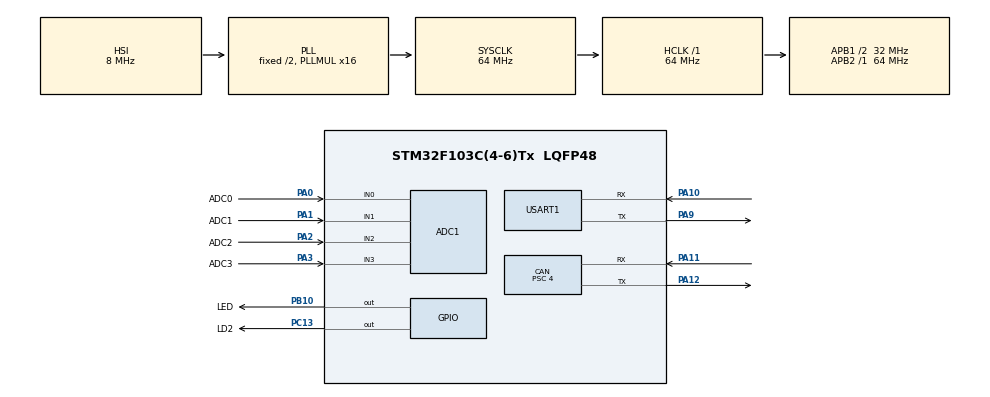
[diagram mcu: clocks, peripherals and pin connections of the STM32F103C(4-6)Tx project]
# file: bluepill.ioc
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ADC1.Channel-1\#ChannelRegularConversion=ADC_CHANNEL_1
ADC1.ContinuousConvMode=ENABLE
ADC1.NbrOfConversion=1
ADC1.NbrOfConversionFlag=1
ADC1.Rank-1\#ChannelRegularConversion=1
ADC1.SamplingTime-1\#ChannelRegularConversion=ADC_SAMPLETIME_239CYCLES_5
ADC1.master=1
CAN.BS1=CAN_BS1_13TQ
CAN.BS2=CAN_BS2_2TQ
CAN.CalculateBaudRate=500000
CAN.CalculateTimeBit=2000
CAN.CalculateTimeQuantum=125.0
CAN.Prescaler=4
Dma.ADC1.1.Direction=DMA_PERIPH_TO_MEMORY
Dma.ADC1.1.Instance=DMA1_Channel1
Dma.ADC1.1.MemDataAlignment=DMA_MDATAALIGN_HALFWORD
Dma.ADC1.1.MemInc=DMA_MINC_ENABLE
Dma.ADC1.1.Mode=DMA_CIRCULAR
Dma.ADC1.1.PeriphDataAlignment=DMA_PDATAALIGN_HALFWORD
Dma.ADC1.1.PeriphInc=DMA_PINC_DISABLE
Dma.ADC1.1.Priority=DMA_PRIORITY_LOW
Dma.Request0=USART1_RX
Dma.Request1=ADC1
Dma.USART1_RX.0.Direction=DMA_PERIPH_TO_MEMORY
Dma.USART1_RX.0.Instance=DMA1_Channel5
Dma.USART1_RX.0.MemDataAlignment=DMA_MDATAALIGN_BYTE
Dma.USART1_RX.0.MemInc=DMA_MINC_ENABLE
Dma.USART1_RX.0.Mode=DMA_CIRCULAR
Dma.USART1_RX.0.PeriphDataAlignment=DMA_PDATAALIGN_BYTE
Dma.USART1_RX.0.PeriphInc=DMA_PINC_DISABLE
Dma.USART1_RX.0.Priority=DMA_PRIORITY_LOW
Mcu.Family=STM32F1
Mcu.Name=STM32F103C(4-6)Tx
Mcu.Package=LQFP48
NVIC.DMA1_Channel1_IRQn=true\:0\:0\:false\:false\:true\:false\:true\:true
NVIC.DMA1_Channel5_IRQn=true\:0\:0\:false\:false\:true\:false\:true\:true
NVIC.PriorityGroup=NVIC_PRIORITYGROUP_4
NVIC.TIM2_IRQn=true\:0\:0\:false\:false\:true\:true\:true\:true
NVIC.USART1_IRQn=true\:0\:0\:false\:false\:true\:true\:true\:true
NVIC.USB_LP_CAN1_RX0_IRQn=true\:0\:0\:false\:false\:true\:true\:true\:true
PA0-WKUP.GPIO_Label=ADC0
PA0-WKUP.Signal=ADCx_IN0
PA1.GPIO_Label=ADC1
PA1.Signal=ADCx_IN1
PA10.Mode=Asynchronous
PA10.Signal=USART1_RX
PA11.Mode=CAN_Activate
PA11.Signal=CAN_RX
PA12.Mode=CAN_Activate
PA12.Signal=CAN_TX
PA2.GPIO_Label=ADC2
PA2.Signal=ADCx_IN2
PA3.GPIO_Label=ADC3
PA3.Signal=ADCx_IN3
PA9.Mode=Asynchronous
PA9.Signal=USART1_TX
PB10.GPIO_Label=LED
PB10.Signal=GPIO_Output
PC13-TAMPER-RTC.GPIO_Label=LD2
PC13-TAMPER-RTC.Signal=GPIO_Output
ProjectManager.HeapSize=0x200
ProjectManager.StackSize=0x400
ProjectManager.TargetToolchain=STM32CubeIDE
RCC.ADCPresc=RCC_ADCPCLK2_DIV6
RCC.AHBFreq_Value=64000000
RCC.APB1CLKDivider=RCC_HCLK_DIV2
RCC.APB1Freq_Value=32000000
RCC.APB1TimFreq_Value=64000000
RCC.APB2Freq_Value=64000000
RCC.APB2TimFreq_Value=64000000
RCC.HCLKFreq_Value=64000000
RCC.PLLMUL=RCC_PLL_MUL16
RCC.SYSCLKFreq_VALUE=64000000
RCC.SYSCLKSource=RCC_SYSCLKSOURCE_PLLCLK
RCC.USBFreq_Value=64000000
SH.ADCx_IN0.0=ADC1_IN0,IN0
SH.ADCx_IN1.0=ADC1_IN1,IN1
SH.ADCx_IN2.0=ADC1_IN2,IN2
SH.ADCx_IN3.0=ADC1_IN3,IN3
TIM2.Period=1000
TIM2.Prescaler=64-1
USART1.VirtualMode=VM_ASYNC
VP_TIM2_VS_ClockSourceINT.Mode=Internal
board=custom

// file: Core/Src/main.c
/* USER CODE BEGIN Header */
/**
  ******************************************************************************
  * @file           : main.c
  * @brief          : Main program body
  ******************************************************************************
  * @attention
  *
  * Copyright (c) 2023 STMicroelectronics.
  * All rights reserved.
  *
  * This software is licensed under terms that can be found in the LICENSE file
  * in the root directory of this software component.
  * If no LICENSE file comes with this software, it is provided AS-IS.
  *
  ******************************************************************************
  */
/* USER CODE END Header */
#include "main.h"
#include "adc.h"
#include "can.h"
#include "dma.h"
#include "tim.h"
#include "usart.h"
#include "gpio.h"

/* USER CODE BEGIN Includes */
#include "stdio.h"
#include "string.h"
#include "math.h"

/* USER CODE END Includes */

/* USER CODE BEGIN PD */
#define BOARD_ID 1
#define SAMPLES_PER_TIME 64
#define OFFSET 1
#define CORRECTION_FACTOR 1
/* USER CODE END PD */

/* USER CODE BEGIN PV */

uint16_t adcint[4] = {0};
extern uint32_t TxMailbox;
uint8_t canRX[8] = {};
uint8_t canTX[8] = {};
extern module_cfg configs;
bool aux = 0;
uint16_t adc_count = 0;

extern uint16_t bufferTensao[64];
extern uint16_t bufferTensaoVA[64];
extern uint16_t bufferTensaoVB[64];
extern uint16_t bufferTensaoVC[64];
SignalQ sgnalQual[3] = {0};
SensorData sensorData;

/* USER CODE END PV */

void SystemClock_Config(void);

int main(void)
{

  /* MCU Configuration--------------------------------------------------------*/

  /* Reset of all peripherals, Initializes the Flash interface and the Systick. */
  HAL_Init();

  /* Configure the system clock */
  SystemClock_Config();

  /* Initialize all configured peripherals */
  MX_GPIO_Init();
  MX_DMA_Init();
  MX_CAN_Init();
  MX_USART1_UART_Init();
  MX_ADC1_Init();
  MX_TIM2_Init();
  /* USER CODE BEGIN 2 */
  HAL_GPIO_TogglePin(LD2_GPIO_Port, LD2_Pin);
//  HAL_TIM_Base_Start(&htim1);
  HAL_TIM_Base_Start_IT(&htim2);

  HAL_UART_Receive_DMA(&huart1, canRX, 8);
  HAL_ADCEx_Calibration_Start(&hadc1);
  HAL_ADC_Start_DMA(&hadc1, &adcint, 3);

HAL_Delay(2000);
  /* USER CODE END 2 */

  /* Infinite loop */
  /* USER CODE BEGIN WHILE */
  while (1)
  {

//	  if (aux)
//	  {
//		  memset(&adc, 0, sizeof(adc));
//		  for (int i = 0; i < 200; i++)
//		  {
//		      for (int j = 0; j < 4; j++)
//		      {
//		          if (configs.sensors[j].enable)
//		          {
//		              adc_sum[j] += sensorData[j][i] * 0.005;
//		          }
//		      }
//		  }
//
//		  for (int j = 0; j < 4; j++)
//		  {
//			  if (configs.sensors[j].enable)
//			  {
//				  adc[j] = (uint16_t)adc_sum[j];
//			  }
//		  }
//		  send_sensor_data(adc);
//		  aux = 0;
//	  }

		if (aux)
		{
			calculate_analog(sensorData);
			calculate_RMS(sensorData);
			calculate_Phase(sensorData);

			aux = 0;
		}

  }
}

void SystemClock_Config(void)
{
  RCC_OscInitTypeDef RCC_OscInitStruct = {0};
  RCC_ClkInitTypeDef RCC_ClkInitStruct = {0};
  RCC_PeriphCLKInitTypeDef PeriphClkInit = {0};

  /** Initializes the RCC Oscillators according to the specified parameters
  * in the RCC_OscInitTypeDef structure.
  */
  RCC_OscInitStruct.OscillatorType = RCC_OSCILLATORTYPE_HSI;
  RCC_OscInitStruct.HSIState = RCC_HSI_ON;
  RCC_OscInitStruct.HSICalibrationValue = RCC_HSICALIBRATION_DEFAULT;
  RCC_OscInitStruct.PLL.PLLState = RCC_PLL_ON;
  RCC_OscInitStruct.PLL.PLLSource = RCC_PLLSOURCE_HSI_DIV2;
  RCC_OscInitStruct.PLL.PLLMUL = RCC_PLL_MUL16;
  if (HAL_RCC_OscConfig(&RCC_OscInitStruct) != HAL_OK)
  {
    Error_Handler();
  }

  /** Initializes the CPU, AHB and APB buses clocks
  */
  RCC_ClkInitStruct.ClockType = RCC_CLOCKTYPE_HCLK|RCC_CLOCKTYPE_SYSCLK
                              |RCC_CLOCKTYPE_PCLK1|RCC_CLOCKTYPE_PCLK2;
  RCC_ClkInitStruct.SYSCLKSource = RCC_SYSCLKSOURCE_PLLCLK;
  RCC_ClkInitStruct.AHBCLKDivider = RCC_SYSCLK_DIV1;
  RCC_ClkInitStruct.APB1CLKDivider = RCC_HCLK_DIV2;
  RCC_ClkInitStruct.APB2CLKDivider = RCC_HCLK_DIV1;

  if (HAL_RCC_ClockConfig(&RCC_ClkInitStruct, FLASH_LATENCY_2) != HAL_OK)
  {
    Error_Handler();
  }
  PeriphClkInit.PeriphClockSelection = RCC_PERIPHCLK_ADC;
  PeriphClkInit.AdcClockSelection = RCC_ADCPCLK2_DIV6;
  if (HAL_RCCEx_PeriphCLKConfig(&PeriphClkInit) != HAL_OK)
  {
    Error_Handler();
  }
}

/* USER CODE BEGIN 4 */

void HAL_TIM_PeriodElapsedCallback(TIM_HandleTypeDef *htim)
{
	if(htim->Instance==TIM2)
	{
		if (adc_count < SAMPLES_PER_TIME)
		{
			sensorData.sensorData_buf[VA][adc_count] = bufferTensaoVA[adc_count];
			sensorData.sensorData_buf[VB][adc_count] = bufferTensaoVB[adc_count];
			sensorData.sensorData_buf[VC][adc_count] = bufferTensaoVC[adc_count];
			adc_count++;
			if (adc_count == 64)
			{
				memcpy(sensorData.sensorData_buf , sensorData.sensorData_cpy, sizeof(sensorData.sensorData_buf));
				aux = 1;
				adc_count = 0;
			}

		}

	}
}

void fill_data(CanPacket *message, uint16_t adc, uint8_t pos, uint8_t sensor)
{
	message->packet.data[CAN_HEADER + 3*pos] = sensor;
	message->packet.data[CAN_HEADER + 3*pos + 1] = (uint8_t)(adc && 0xff00) >> 8;
	message->packet.data[CAN_HEADER + 3*pos + 2] = (uint8_t)(adc && 0x00ff);
}

void send_sensor_data(uint16_t *adc)
{
	uint8_t count = 0;
	CanPacket message = {0};
	message.packet.ctrl0.control = configs.boardID;
	message.packet.ctrl1.control = 0; //revisar
//	fill_data(&message, adc[i], count, i);

	TxHeader.StdId             = DEVICE_1;     // ID do dispositivo
	TxHeader.RTR               = CAN_RTR_DATA;       //(Remote Transmission Request) especifica Remote Fraame ou Data Frame.
	TxHeader.IDE               = CAN_ID_STD;    //define o tipo de id (standard ou extended
	TxHeader.DLC               = 8;      //Tamanho do pacote 0 - 8 bytes
	TxHeader.TransmitGlobalTime = DISABLE;

}

void HAL_CAN_RxFifo0MsgPendingCallback(CAN_HandleTypeDef *hcan)
{

//	HAL_GPIO_WritePin(LD2_GPIO_Port, LD2_Pin, GPIO_PIN_SET);

	UartPacket uartPacket = {0};

	HAL_CAN_GetRxMessage(hcan, CAN_RX_FIFO0, &RxHeader, canRX);

	DecodeCanPacket(RxHeader.StdId, &uartPacket, canRX);

//	HAL_GPIO_WritePin(LD2_GPIO_Port, LD2_Pin, GPIO_PIN_SET);
	HAL_GPIO_TogglePin(LD2_GPIO_Port, LD2_Pin);

}

void sendCanMsg_test(int delay)
{
	  uint8_t tx[7] = {1,2,3,4,5,6,7};
	  TxHeader.StdId             = 0x0;     // ID do dispositivo
	  TxHeader.RTR               = CAN_RTR_DATA;       //(Remote Transmission Request) especifica Remote Fraame ou Data Frame.
	  TxHeader.IDE               = CAN_ID_STD;    //define o tipo de id (standard ou extended
	  TxHeader.DLC               = 7;      //Tamanho do pacote 0 - 8 bytes
	  TxHeader.TransmitGlobalTime = DISABLE;

	  int status = HAL_CAN_AddTxMessage(&hcan, &TxHeader, tx, &TxMailbox);
	  if(status)
	  {
		 Error_Handler();
	  }
	  HAL_GPIO_TogglePin(LD2_GPIO_Port, LD2_Pin);
	  HAL_Delay(delay);
}

void calculate_analog(SensorData *data)
{
	for (int i = 0; i < SAMPLES_PER_TIME; i++)
	{
		data->sensorData_values[VA][i] = (( data->sensorData_cpy[VA][i] * MAX_ADC ) * MAX_ANALOG - OFFSET) * CORRECTION_FACTOR;
		data->sensorData_values[VB][i] = (( data->sensorData_cpy[VB][i] * MAX_ADC ) * MAX_ANALOG - OFFSET) * CORRECTION_FACTOR;
		data->sensorData_values[VC][i] = (( data->sensorData_cpy[VC][i] * MAX_ADC ) * MAX_ANALOG - OFFSET) * CORRECTION_FACTOR;
	}
}

void calculate_RMS(SensorData *data)
{
	float sum_square[3] = {0};
	float RMS[3] = {0};

	for (int i = 0; i < SAMPLES_PER_TIME; i++)
	{
		sum_square[VA] += data->sensorData_values[VA][i];
		sum_square[VB] += data->sensorData_values[VB][i];
	    sum_square[VC] += data->sensorData_values[VC][i];
	}
	RMS[VA] = sqrt(sum_square[VA] / SAMPLES_PER_TIME);
	RMS[VB] = sqrt(sum_square[VB] / SAMPLES_PER_TIME);
	RMS[VC] = sqrt(sum_square[VC] / SAMPLES_PER_TIME);
}

void calculate_Phase(SensorData *data)
{

}

/* USER CODE END 4 */

void Error_Handler(void)
{
  __disable_irq();
  while (1)
  {
  }
}
